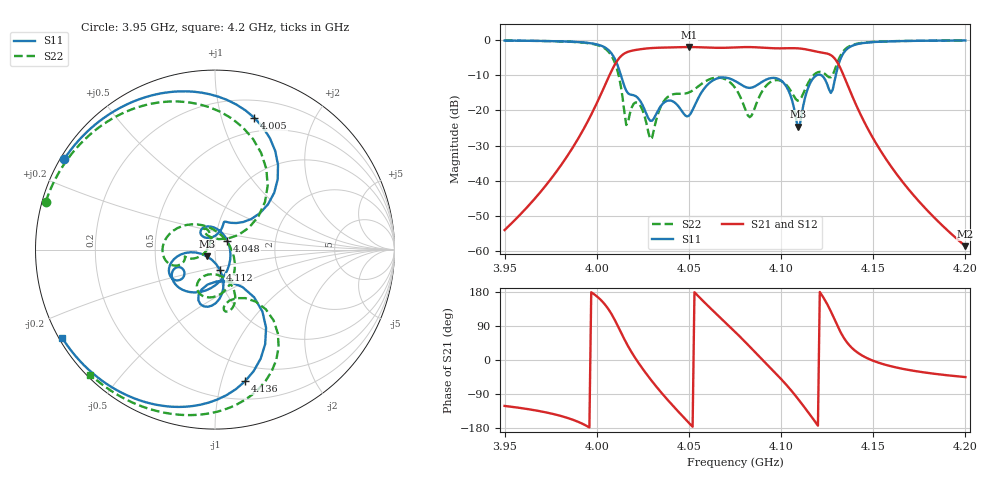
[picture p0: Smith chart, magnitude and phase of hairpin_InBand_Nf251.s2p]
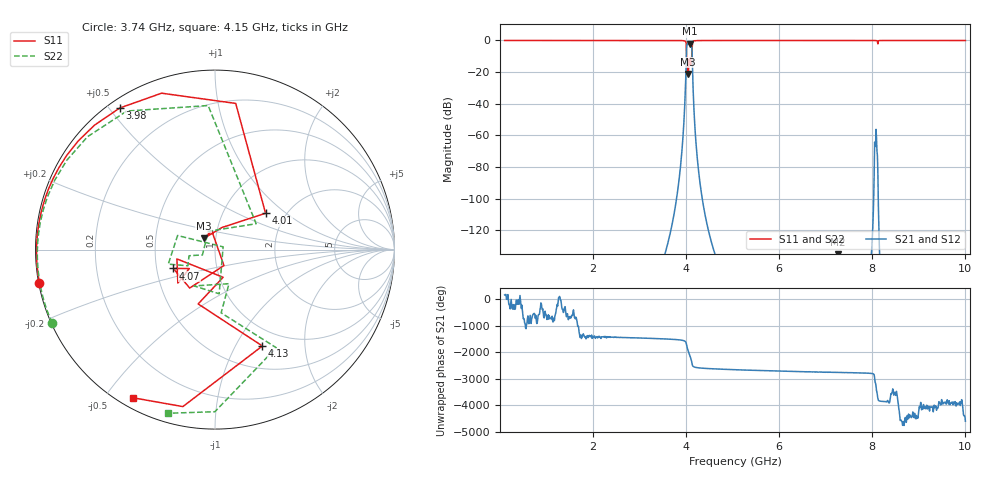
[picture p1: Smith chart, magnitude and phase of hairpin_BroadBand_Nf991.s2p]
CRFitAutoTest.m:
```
function CRFitAutoTest()
    % CRFitAutoTest. Test CRFitAuto and CRFitInterp. jcr29Sep2025
    % CRCat and associated software is licensed under the MIT open software
    % license. See the file LICENSE.TXT in the main directory.

    % Full test run 11Oct2025jcr All passed.

    aErrorLim = 1e-5; % Ingore error less than this.
    aTestDataDir = 'CRCatTestData'; % All data files are in this directory.

    % Test 1 uses a previously saved custom catalog.
    aCatFileName = strcat(aTestDataDir,'/ACustomCatalogForTest.mat');
    if exist(aCatFileName, 'file') ~= 2
        error('Saved catalog not found: %s.\n', aCatFileName);
    end % if exist
    aCatStruct = load(aCatFileName);
    aCat = aCatStruct.theCat;
    fprintf('\nTest catalog loaded.\n\n');

    fprintf('Verbose mode turned on for all tests.\n')

    fprintf('\nTest 1: Fitting data from a simple component...')

    % Test 1, simple fit to data from a standard component.
    aComp = CRComp(1,aCat); % No fixed element values.
    aFreq = 1:40;
    aY = aComp.Eval(aFreq);
    [aAFit,aBFit,aReturnCode] = CRFitAuto(aY,aFreq,1);
    if aReturnCode == 1
        aYFit = CREval(aAFit,aBFit,aFreq);
        aFitError = rmse(aYFit,aY);
        if aFitError < aErrorLim
            fprintf('Test 1 passed with error = %d\n',aFitError)
        else
            fprintf('***Test 1 FAILED with error = %d\n',aFitError)
        end % if aFitError
    else
        fprintf('***Test 1 FAILED, unable to fit, CRFit return code = %d\n',aReturnCode)
    end % if aReturnCode


    % Test 2
    fprintf('\nTest 2: Fit a band-pass filter using data from the passband only.\n');
    aDataFileName = strcat(aTestDataDir,'/hairpin_InBand_Nf251.s2p');
    aData = SnP(aDataFileName);
    fprintf('Test 2 data loaded. Fitting data next...');
    % Fit S21.
    aS = aData.Pull('S21');
    [aAFitTest2,aBFitTest2,aReturnCode] = CRFitAuto(aS,aData.freq,1); % Verbose mode.
    if aReturnCode == 1
        aSFit = CREval(aAFitTest2,aBFitTest2,aData.freq);
        aFitError = rmse(aSFit,aS);
        if aFitError < aErrorLim
            fprintf('Test 2 passed with error = %d\n',aFitError)
        else
            fprintf('***Test 2 FAILED with error = %d\n',aFitError)
        end % if aFitError
    else
        fprintf('***Test 2 FAILED, unable to fit, CRFit return code = %d\n',aReturnCode)
    end % if aReturnCode


    fprintf('\nTest 3: Fit data from the band pass, extrapolate, and compare to the full EM result.\n');
    aDataFileName = strcat(aTestDataDir,'/hairpin_BroadBand_Nf991.s2p');
    aDataFull = SnP(aDataFileName);
    % Pull out the full, broadband S21 data.
    aSFull = aDataFull.Pull('S21');
    fprintf('Test 3 data loaded. Fitting S21 data from only the pass-band.');
    % Not using results from Test 2 because the EM analysis used a slightly
    % different meshing, and that gives slightly different pass-band results.
    % Limiting fit to just the pass band...
    [aAFit,aBFit,aReturnCode] = CRFitAuto(aSFull(376:421),aDataFull.freq(376:421),1); % Verbose mode.
    if aReturnCode ~= 1
        fprintf('***Test 3 FAILED band-pass fit, CRFit return code = %d\n',aReturnCode)
    else
        % Extrapolate above rational polynomial model to the full frequency list.
        aSExtrapolated = CREval(aAFit,aBFit,aDataFull.freq);
        % The aSFull data above 6 GHz is into the second order response, so no rmse above 6 GHz.
        aFitError = rmse(aSExtrapolated(1:592),aSFull(1:592));
        if aFitError < aErrorLim
            fprintf('Test 3 passed with error = %d\n',aFitError)
        else
            fprintf('***Test 3 FAILED with error = %d\n',aFitError)
        end % if aFitError
    end % if aReturnCode


    % Test 4 forms an SnP with a subset of aDataFull (same as in Test 3) of the
    % bandpass region to extrapolate to 0-6 GHz. Each of the four S-parameters are
    % extrapolated by CRInterp and checked for error against a 0-6 GHz subset of aSFull.
    aDataFileName = strcat(aTestDataDir,'/hairpin_BroadBand_Nf991.s2p');
    aDataFull = SnP(aDataFileName);
    aDataPassBand = aDataFull.Shorten(376:421);
    aData0to6 = aDataFull.Shorten(1:592);
    fprintf('\nTest 4 data loaded. Extrapolating full band from pass-band data for all four S-parameters.');
    aResultSnP = CRInterp(aDataPassBand,aData0to6.freq,1); % Verbose mode.

    % Check result error by comparing interpolated result with aData0to6
    fprintf('\n')
    for iRow=1:aResultSnP.nPort
        for iCol=1:aResultSnP.nPort
            aError1 = rmse( aResultSnP.mat(iRow,iCol,:), aData0to6.mat(iRow,iCol,:) );
            if aError1 < 1e-3 % Error limit is higher than aErrorLim because is for full band.
                fprintf('Test 4 S%d%d passed, full band error is %d.\n',iRow,iCol,aError1);
            else
                fprintf('***Test 4 S%d%d FAILED, full band error is %d.\n',iRow,iCol,aError1);
            end % if aError1
        end % for iCol
    end % for iRow

    fprintf('\nCRFitAutoTest complete.\n')

end % CRFitAutoTest
```
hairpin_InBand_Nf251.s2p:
! Sonnet Data File
! From: em Version : 18.56
! From Project: hairpin_InBand_Nf201
! Data is De-embedded
! Data File Written: 03/21/2023 12:17:24
!< HDATE 10/24/2012 11:01:19
!< MDATE 10/24/2012 11:01:19
# GHZ S MA R 50.00000
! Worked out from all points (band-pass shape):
!   251 points, 3.95 GHz to 4.2 GHz, reference 50 ohm
!   highest |S21| = -2.01 dB at 4.05 GHz (marker M1); lowest = -58.5 dB at 4.2 GHz (marker M2)
!   |S21| within 3 dB of the highest: 4.012 GHz to 4.129 GHz (116.2 MHz wide, 2.85 % of centre)
!   lowest |S11| = -24.6 dB at 4.109 GHz (marker M3), VSWR 1.12, Z = 45.5 - j3.4 ohm
!   |S11| at or under -10 dB: 4.013 GHz to 4.119 GHz (106.3 MHz wide, 2.61 % of centre); 4.121759 GHz to 4.129706 GHz (7.948 MHz wide, 0.193 % of centre)
!   |S22| runs from -28.2 to -0.1 dB; largest |S21 - S12| = 4e-12
!   S11 on the Smith chart (normalised r, x): 3.95 GHz: 0.01, +0.28; 4.005 GHz: 0.36, +1.28; 4.048 GHz: 1.14, +0.11; 4.112 GHz: 1.03, -0.23; 4.136 GHz: 0.35, -1.19; 4.2 GHz: 0.01, -0.27
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3.95  0.9799 149.0  0.002007 -121.2  0.002007 -121.2  0.98 164.2
4.005  0.7659 73.3  0.2452 143.0  0.2452 143.0  0.7362 82.7
4.023  0.1432 71.9  0.7342 -10.1  0.7342 -10.1  0.1231 111.9
4.048  0.08491 36.0  0.7923 -155.7  0.7923 -155.7  0.1738 -164.1
4.05  0.08394 -0.3  0.793 -166.0  0.793 -166.0  0.1798 -161.0
4.075  0.262 -153.5  0.783 74.6  0.783 74.6  0.2099 139.2
4.091  0.2662 -140.0  0.7744 -4.9  0.7744 -4.9  0.2094 -66.4
4.109  0.05873 -140.6  0.7604 -101.4  0.7604 -101.4  0.1375 -96.4
4.112  0.1159 -76.4  0.7462 -120.4  0.7462 -120.4  0.1728 -70.2
4.136  0.7528 -77.2  0.2324 45.0  0.2324 45.0  0.7836 -68.9
4.2  0.9832 -149.9  0.001185 -45.0  0.001185 -45.0  0.9836 -134.9
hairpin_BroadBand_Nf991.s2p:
! Sonnet Data File
! From: em Version : 18.56
! From Project: hairpin_BroadBand_Nf991
! Data is De-embedded
! Data File Written: 03/21/2023 19:02:32
!< HDATE 10/24/2012 11:01:19
!< MDATE 10/24/2012 11:01:19
# GHZ S MA R 50.00000
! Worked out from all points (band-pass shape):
!   991 points, 100 MHz to 10 GHz, reference 50 ohm
!   highest |S21| = -1.98 dB at 4.08 GHz (marker M1); lowest = -199.0 dB at 7.26 GHz (marker M2)
!   |S21| within 3 dB of the highest: 4.01 GHz to 4.122 GHz (112.5 MHz wide, 2.77 % of centre)
!   lowest |S11| = -21.1 dB at 4.03 GHz (marker M3), VSWR 1.19, Z = 43.8 + j5.54 ohm
!   |S11| at or under -10 dB: 4.011 GHz to 4.12 GHz (109 MHz wide, 2.68 % of centre)
!   |S22| runs from -26.4 to 0.0 dB; largest |S21 - S12| = 7.8e-12
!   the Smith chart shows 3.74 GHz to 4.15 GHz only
!   S11 on the Smith chart (normalised r, x): 3.74 GHz: 0.00, -0.09; 3.98 GHz: 0.03, +0.53; 4.01 GHz: 1.58, +0.73; 4.07 GHz: 0.61, -0.14; 4.13 GHz: 0.77, -1.29; 4.15 GHz: 0.04, -0.59
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0.1  0.9999 -3.0  8.675e-12 161.1  8.675e-12 161.1  0.9999 -2.8
3.74  0.9956 -169.4  3.24e-06 -75.0  3.24e-06 -75.0  0.9958 -155.8
3.98  0.9509 124.0  0.01997 -151.2  0.01997 -151.2  0.9488 138.5
4.01  0.3469 35.7  0.5674 77.3  0.5674 77.3  0.2709 32.2
4.03  0.08818 134.7  0.7749 -72.9  0.7749 -72.9  0.07592 -157.0
4.07  0.2549 -155.7  0.7843 84.3  0.7843 84.3  0.2226 159.3
4.08  0.1779 -143.6  0.7959 35.1  0.7959 35.1  0.04794 18.7
4.13  0.5984 -63.8  0.3575 66.3  0.3575 66.3  0.6445 -58.0
4.15  0.9437 -119.0  0.02903 -8.0  0.02903 -8.0  0.9479 -105.9
5.06  0.9972 123.7  6.441e-09 -136.7  6.441e-09 -136.7  0.997 140.7
7.26  0.9978 25.4  1.126e-10 120.5  1.126e-10 120.5  0.9978 38.2
10  0.9956 -61.4  4.732e-12 85.9  4.732e-12 85.9  0.9963 -43.0
